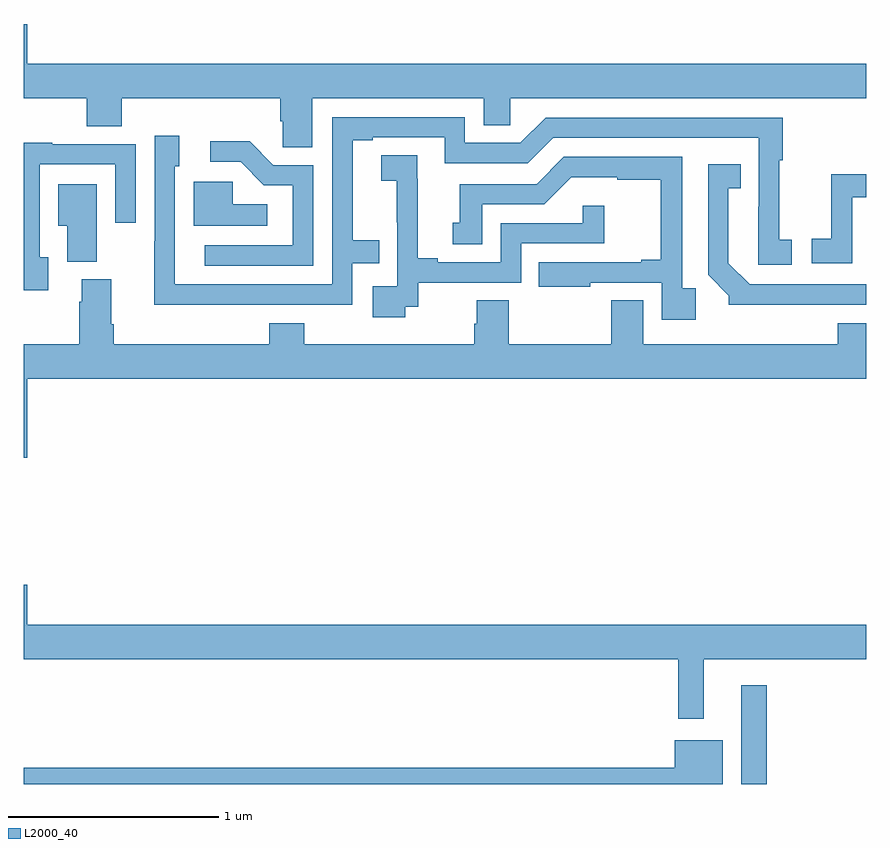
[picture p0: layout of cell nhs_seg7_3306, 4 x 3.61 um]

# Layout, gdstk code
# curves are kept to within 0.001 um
import gdstk
lib = gdstk.Library(unit=1e-6, precision=1e-09)
def R(c, l, rs):  # rectangles x0, y0, x1, y1
    for r in rs: c.add(gdstk.rectangle(r[:2], r[2:], *l))
def P(c, l, *ps):  # polygons
    for p in ps: c.add(gdstk.Polygon(p, *l))
L2000_40 = (2000, 40)

nhs_seg7_3306 = lib.new_cell('nhs_seg7_3306')
R(nhs_seg7_3306, L2000_40, [(324.407,1024,324.529,1024.468)])
P(nhs_seg7_3306, L2000_40, [(322.369,1027.256),(323.183,1027.256),(323.183,1027.129),(323.31,1027.129),(323.31,1027.256),(325,1027.256),(325,1027.42),(321.016,1027.42),(321.016,1027.609),(321,1027.609),(321,1027.256),(321.299,1027.256),(321.299,1027.123),(321.464,1027.123),(321.464,1027.256),(322.217,1027.256),(322.217,1027.147),(322.23,1027.147),(322.23,1027.024),(322.369,1027.024)],
  [(322.082,1026.276),(322.56,1026.276),(322.56,1026.474),(322.688,1026.474),(322.688,1026.583),(322.561,1026.583),(322.561,1027.056),(322.657,1027.056),(322.657,1027.071),(322.998,1027.071),(322.998,1026.948),(323.394,1026.948),(323.514,1027.068),(324.489,1027.068),(324.488,1026.465),(324.646,1026.465),(324.646,1026.585),(324.588,1026.585),(324.588,1026.961),(324.605,1026.961),(324.605,1027.164),(323.478,1027.164),(323.358,1027.044),(323.094,1027.044),(323.094,1027.167),(322.464,1027.167),(322.464,1026.372),(321.717,1026.372),(321.717,1026.933),(321.739,1026.933),(321.739,1027.078),(321.621,1027.078),(321.62,1026.275)],
  [(322.374,1026.939),(322.185,1026.939),(322.072,1027.052),(321.885,1027.052),(321.885,1026.954),(322.029,1026.954),(322.14,1026.843),(322.278,1026.843),(322.278,1026.558),(321.858,1026.558),(321.858,1026.462),(322.374,1026.462)],
  [(321.115,1026.501),(321.075,1026.501),(321.075,1026.942),(321.435,1026.942),(321.435,1026.666),(321.531,1026.666),(321.531,1027.038),(321.135,1027.038),(321.135,1027.045),(321,1027.045),(321,1026.345),(321.115,1026.345)],
  [(322.812,1026.267),(322.874,1026.267),(322.874,1026.381),(323.361,1026.381),(323.361,1026.567),(323.756,1026.567),(323.756,1026.745),(323.655,1026.745),(323.655,1026.663),(323.265,1026.663),(323.265,1026.477),(322.966,1026.477),(322.966,1026.497),(322.87,1026.497),(322.87,1026.875),(322.868,1026.875),(322.868,1026.986),(322.698,1026.986),(322.698,1026.865),(322.772,1026.865),(322.772,1026.667),(322.773,1026.667),(322.773,1026.363),(322.656,1026.363),(322.656,1026.216),(322.812,1026.216)],
  [(324.191,1026.355),(324.126,1026.355),(324.126,1026.978),(323.565,1026.978),(323.436,1026.849),(323.069,1026.849),(323.069,1026.666),(323.036,1026.666),(323.036,1026.562),(323.176,1026.562),(323.176,1026.753),(323.472,1026.753),(323.6,1026.881),(323.819,1026.881),(323.819,1026.87),(324.025,1026.87),(324.025,1026.49),(323.933,1026.49),(323.933,1026.477),(323.446,1026.477),(323.446,1026.362),(323.689,1026.362),(323.689,1026.381),(324.03,1026.381),(324.03,1026.204),(324.191,1026.204)],
  [(324.782,1026.276),(325,1026.276),(325,1026.372),(324.447,1026.372),(324.346,1026.473),(324.346,1026.83),(324.404,1026.83),(324.404,1026.943),(324.249,1026.943),(324.249,1026.418),(324.348,1026.319),(324.348,1026.275)],
  [(324.933,1026.786),(325,1026.786),(325,1026.895),(324.835,1026.895),(324.835,1026.59),(324.741,1026.59),(324.741,1026.474),(324.933,1026.474)],
  [(322.156,1026.754),(321.993,1026.754),(321.993,1026.861),(321.806,1026.861),(321.806,1026.65),(322.156,1026.65)],
  [(321.346,1026.847),(321.164,1026.847),(321.164,1026.65),(321.206,1026.65),(321.206,1026.481),(321.346,1026.481)],
  [(321.016,1025.924),(325,1025.924),(325,1026.187),(324.866,1026.187),(324.866,1026.088),(323.941,1026.088),(323.941,1026.296),(323.789,1026.296),(323.789,1026.088),(323.303,1026.088),(323.303,1026.296),(323.15,1026.296),(323.15,1026.186),(323.138,1026.186),(323.138,1026.088),(322.331,1026.088),(322.331,1026.187),(322.166,1026.187),(322.166,1026.088),(321.428,1026.088),(321.428,1026.184),(321.415,1026.184),(321.415,1026.396),(321.275,1026.396),(321.275,1026.29),(321.263,1026.29),(321.263,1026.088),(321,1026.088),(321,1025.55),(321.016,1025.55)],
  [(324.229,1024.592),(325,1024.592),(325,1024.756),(321.016,1024.756),(321.016,1024.945),(321,1024.945),(321,1024.592),(324.108,1024.592),(324.108,1024.311),(324.229,1024.311)],
  [(324.319,1024.207),(324.092,1024.207),(324.092,1024.076),(321,1024.076),(321,1024),(324.319,1024)])

lib.write_gds('nhs_seg7_3306.gds')
